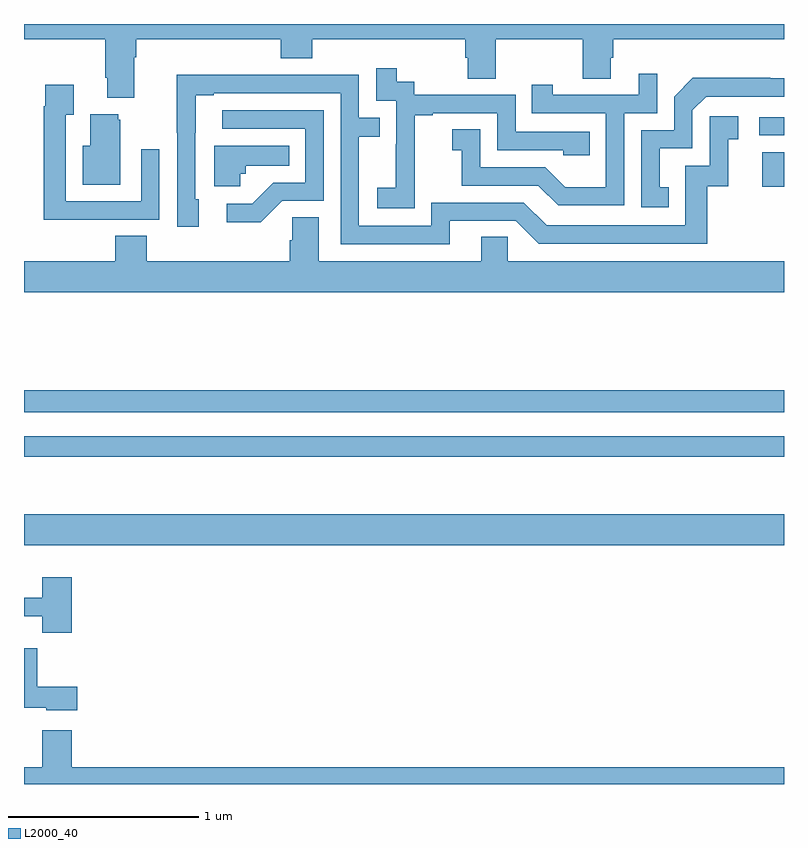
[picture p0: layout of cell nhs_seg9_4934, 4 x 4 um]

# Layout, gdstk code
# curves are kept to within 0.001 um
import gdstk
lib = gdstk.Library(unit=1e-6, precision=1e-09)
def R(c, l, rs):  # rectangles x0, y0, x1, y1
    for r in rs: c.add(gdstk.rectangle(r[:2], r[2:], *l))
def P(c, l, *ps):  # polygons
    for p in ps: c.add(gdstk.Polygon(p, *l))
L2000_40 = (2000, 40)

nhs_seg9_4934 = lib.new_cell('nhs_seg9_4934')
R(nhs_seg9_4934, L2000_40, [(397,1193.756,401,1193.92), (397,1194.222,401,1194.33), (397,1194.456,401,1194.572), (400.886,1195.644,401,1195.825), (400.869,1195.914,401,1196.01)])
P(nhs_seg9_4934, L2000_40, [(397,1196.42),(397.427,1196.42),(397.427,1196.218),(397.439,1196.218),(397.439,1196.111),(397.579,1196.111),(397.579,1196.324),(397.592,1196.324),(397.592,1196.42),(398.351,1196.42),(398.351,1196.321),(398.516,1196.321),(398.516,1196.42),(399.323,1196.42),(399.323,1196.322),(399.335,1196.322),(399.335,1196.212),(399.483,1196.212),(399.483,1196.42),(399.94,1196.42),(399.94,1196.212),(400.087,1196.212),(400.087,1196.322),(400.1,1196.322),(400.1,1196.42),(401,1196.42),(401,1196.5),(397,1196.5)],
  [(399.057,1195.735),(399.056,1195.735),(399.056,1196.019),(399.151,1196.019),(399.151,1196.031),(399.492,1196.031),(399.492,1195.836),(399.837,1195.836),(399.837,1195.809),(399.977,1195.809),(399.977,1195.932),(399.588,1195.932),(399.588,1196.127),(399.054,1196.127),(399.054,1196.196),(398.962,1196.196),(398.962,1196.266),(398.853,1196.266),(398.853,1196.097),(398.958,1196.097),(398.958,1195.868),(398.957,1195.868),(398.957,1195.639),(398.859,1195.639),(398.859,1195.529),(399.057,1195.529)],
  [(400.158,1196.031),(400.332,1196.031),(400.332,1196.239),(400.235,1196.239),(400.235,1196.127),(399.784,1196.127),(399.784,1196.179),(399.673,1196.179),(399.673,1196.031),(400.062,1196.031),(400.062,1195.642),(399.848,1195.642),(399.744,1195.746),(399.402,1195.746),(399.402,1195.945),(399.255,1195.945),(399.255,1195.835),(399.304,1195.835),(399.304,1195.65),(399.707,1195.65),(399.812,1195.545),(400.158,1195.545)],
  [(399.241,1195.464),(399.588,1195.464),(399.708,1195.344),(400.595,1195.344),(400.595,1195.647),(400.706,1195.647),(400.706,1195.893),(400.759,1195.893),(400.759,1196.014),(400.608,1196.014),(400.608,1195.755),(400.479,1195.755),(400.479,1195.44),(399.75,1195.44),(399.63,1195.56),(399.144,1195.56),(399.144,1195.437),(398.763,1195.437),(398.763,1195.906),(398.873,1195.906),(398.873,1196.007),(398.763,1196.007),(398.763,1196.232),(398.267,1196.232),(398.267,1196.234),(397.804,1196.234),(397.804,1195.927),(397.806,1195.927),(397.806,1195.434),(397.921,1195.434),(397.921,1195.578),(397.902,1195.578),(397.903,1196.124),(397.999,1196.124),(397.999,1196.136),(398.667,1196.136),(398.667,1195.341),(399.241,1195.341)],
  [(400.394,1195.641),(400.345,1195.641),(400.345,1195.845),(400.518,1195.845),(400.518,1196.046),(400.59,1196.118),(401,1196.118),(401,1196.214),(400.928,1196.214),(400.928,1196.216),(400.52,1196.216),(400.422,1196.118),(400.422,1195.941),(400.248,1195.941),(400.248,1195.536),(400.394,1195.536)],
  [(397.397,1195.47),(397.713,1195.47),(397.713,1195.84),(397.617,1195.84),(397.617,1195.566),(397.221,1195.566),(397.221,1196.023),(397.261,1196.023),(397.261,1196.179),(397.113,1196.179),(397.113,1196.066),(397.105,1196.066),(397.105,1195.469),(397.397,1195.469)],
  [(398.358,1195.569),(398.577,1195.569),(398.577,1196.046),(398.043,1196.046),(398.043,1195.95),(398.481,1195.95),(398.481,1195.665),(398.312,1195.665),(398.201,1195.554),(398.067,1195.554),(398.067,1195.457),(398.245,1195.457)],
  [(397.507,1195.995),(397.496,1195.995),(397.496,1196.026),(397.349,1196.026),(397.349,1195.858),(397.31,1195.858),(397.31,1195.655),(397.507,1195.655)],
  [(398.139,1195.713),(398.166,1195.713),(398.166,1195.754),(398.396,1195.754),(398.396,1195.858),(398,1195.858),(398,1195.646),(398.139,1195.646)],
  [(401,1195.252),(399.546,1195.252),(399.546,1195.379),(399.407,1195.379),(399.407,1195.252),(398.551,1195.252),(398.551,1195.484),(398.412,1195.484),(398.412,1195.361),(398.399,1195.361),(398.399,1195.252),(397.646,1195.252),(397.646,1195.385),(397.481,1195.385),(397.481,1195.252),(397,1195.252),(397,1195.088),(401,1195.088)],
  [(397.25,1193.587),(397.097,1193.587),(397.097,1193.481),(397,1193.481),(397,1193.384),(397.095,1193.384),(397.095,1193.297),(397.25,1193.297)],
  [(397.279,1193.011),(397.07,1193.011),(397.07,1193.215),(397,1193.215),(397,1192.901),(397.116,1192.901),(397.116,1192.889),(397.279,1192.889)],
  [(401,1192.588),(397.25,1192.588),(397.25,1192.783),(397.097,1192.783),(397.097,1192.588),(397,1192.588),(397,1192.5),(401,1192.5)])

lib.write_gds('nhs_seg9_4934.gds')
